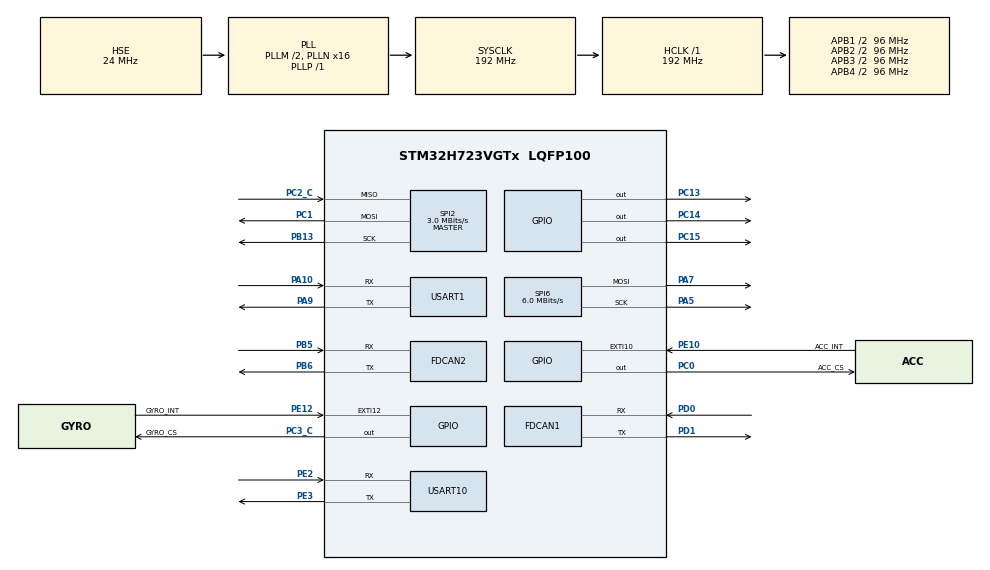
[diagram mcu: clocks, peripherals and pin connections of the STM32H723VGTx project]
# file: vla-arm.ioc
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Dma.Request0=SPI2_RX
Dma.Request1=SPI2_TX
Dma.SPI2_RX.0.Direction=DMA_PERIPH_TO_MEMORY
Dma.SPI2_RX.0.EventEnable=DISABLE
Dma.SPI2_RX.0.FIFOMode=DMA_FIFOMODE_DISABLE
Dma.SPI2_RX.0.Instance=DMA1_Stream0
Dma.SPI2_RX.0.MemDataAlignment=DMA_MDATAALIGN_BYTE
Dma.SPI2_RX.0.MemInc=DMA_MINC_ENABLE
Dma.SPI2_RX.0.Mode=DMA_NORMAL
Dma.SPI2_RX.0.PeriphDataAlignment=DMA_PDATAALIGN_BYTE
Dma.SPI2_RX.0.PeriphInc=DMA_PINC_DISABLE
Dma.SPI2_RX.0.Polarity=HAL_DMAMUX_REQ_GEN_RISING
Dma.SPI2_RX.0.Priority=DMA_PRIORITY_VERY_HIGH
Dma.SPI2_RX.0.RequestNumber=1
Dma.SPI2_RX.0.SignalID=NONE
Dma.SPI2_RX.0.SyncEnable=DISABLE
Dma.SPI2_RX.0.SyncPolarity=HAL_DMAMUX_SYNC_NO_EVENT
Dma.SPI2_RX.0.SyncRequestNumber=1
Dma.SPI2_RX.0.SyncSignalID=NONE
Dma.SPI2_TX.1.Direction=DMA_MEMORY_TO_PERIPH
Dma.SPI2_TX.1.EventEnable=DISABLE
Dma.SPI2_TX.1.FIFOMode=DMA_FIFOMODE_DISABLE
Dma.SPI2_TX.1.Instance=DMA1_Stream1
Dma.SPI2_TX.1.MemDataAlignment=DMA_MDATAALIGN_BYTE
Dma.SPI2_TX.1.MemInc=DMA_MINC_ENABLE
Dma.SPI2_TX.1.Mode=DMA_NORMAL
Dma.SPI2_TX.1.PeriphDataAlignment=DMA_PDATAALIGN_BYTE
Dma.SPI2_TX.1.PeriphInc=DMA_PINC_DISABLE
Dma.SPI2_TX.1.Polarity=HAL_DMAMUX_REQ_GEN_RISING
Dma.SPI2_TX.1.Priority=DMA_PRIORITY_HIGH
Dma.SPI2_TX.1.RequestNumber=1
Dma.SPI2_TX.1.SignalID=NONE
Dma.SPI2_TX.1.SyncEnable=DISABLE
Dma.SPI2_TX.1.SyncPolarity=HAL_DMAMUX_SYNC_NO_EVENT
Dma.SPI2_TX.1.SyncRequestNumber=1
Dma.SPI2_TX.1.SyncSignalID=NONE
FDCAN1.AutoRetransmission=DISABLE
FDCAN1.CalculateBaudRateNominal=1000000
FDCAN1.CalculateTimeBitNominal=1000
FDCAN1.CalculateTimeQuantumNominal=62.5
FDCAN1.DataPrescaler=6
FDCAN1.DataSyncJumpWidth=2
FDCAN1.DataTimeSeg1=13
FDCAN1.DataTimeSeg2=2
FDCAN1.ExtFiltersNbr=4
FDCAN1.Mode=FDCAN_MODE_NORMAL
FDCAN1.NominalPrescaler=6
FDCAN1.NominalSyncJumpWidth=2
FDCAN1.NominalTimeSeg1=13
FDCAN1.NominalTimeSeg2=2
FDCAN1.ProtocolException=ENABLE
FDCAN1.RxBuffersNbr=2
FDCAN1.RxFifo0ElmtsNbr=8
FDCAN1.RxFifo1ElmtsNbr=8
FDCAN1.StdFiltersNbr=4
FDCAN1.TxBuffersNbr=8
FDCAN1.TxEventsNbr=8
FDCAN1.TxFifoQueueElmtsNbr=8
FDCAN2.AutoRetransmission=DISABLE
FDCAN2.CalculateBaudRateNominal=1000000
FDCAN2.CalculateTimeBitNominal=1000
FDCAN2.CalculateTimeQuantumNominal=62.5
FDCAN2.DataPrescaler=6
FDCAN2.DataSyncJumpWidth=2
FDCAN2.DataTimeSeg1=13
FDCAN2.DataTimeSeg2=2
FDCAN2.ExtFiltersNbr=4
FDCAN2.NominalPrescaler=6
FDCAN2.NominalSyncJumpWidth=2
FDCAN2.NominalTimeSeg1=13
FDCAN2.NominalTimeSeg2=2
FDCAN2.ProtocolException=ENABLE
FDCAN2.RxBuffersNbr=2
FDCAN2.RxFifo0ElmtsNbr=8
FDCAN2.RxFifo1ElmtsNbr=8
FDCAN2.StdFiltersNbr=4
FDCAN2.TxBuffersNbr=8
FDCAN2.TxEventsNbr=8
FDCAN2.TxFifoQueueElmtsNbr=8
Mcu.Family=STM32H7
Mcu.Name=STM32H723VGTx
Mcu.Package=LQFP100
NVIC.DMA1_Stream0_IRQn=true\:1\:0\:true\:false\:true\:false\:true\:true
NVIC.DMA1_Stream1_IRQn=true\:2\:0\:true\:false\:true\:false\:true\:true
NVIC.FDCAN1_IT0_IRQn=true\:0\:0\:false\:false\:true\:true\:true\:true
NVIC.FDCAN1_IT1_IRQn=true\:0\:0\:false\:false\:true\:true\:true\:true
NVIC.FDCAN2_IT0_IRQn=true\:0\:0\:false\:false\:true\:true\:true\:true
NVIC.FDCAN2_IT1_IRQn=true\:0\:0\:false\:false\:true\:true\:true\:true
NVIC.PriorityGroup=NVIC_PRIORITYGROUP_4
NVIC.SPI2_IRQn=true\:5\:0\:true\:false\:true\:false\:true\:true
NVIC.TIM2_IRQn=true\:0\:0\:false\:false\:true\:true\:true\:true
NVIC.USART10_IRQn=true\:0\:0\:false\:false\:true\:true\:true\:true
PA10.Mode=Asynchronous
PA10.Signal=USART1_RX
PA13(JTMS/SWDIO).Mode=Serial_Wire
PA13(JTMS/SWDIO).Signal=DEBUG_JTMS-SWDIO
PA14(JTCK/SWCLK).Mode=Serial_Wire
PA14(JTCK/SWCLK).Signal=DEBUG_JTCK-SWCLK
PA5.GPIO_Speed=GPIO_SPEED_FREQ_VERY_HIGH
PA5.Mode=TX_Only_Simplex_Unidirect_Master
PA5.Signal=SPI6_SCK
PA7.GPIO_Speed=GPIO_SPEED_FREQ_VERY_HIGH
PA7.Mode=TX_Only_Simplex_Unidirect_Master
PA7.Signal=SPI6_MOSI
PA9.Mode=Asynchronous
PA9.Signal=USART1_TX
PB13.GPIO_Speed=GPIO_SPEED_FREQ_VERY_HIGH
PB13.Mode=Full_Duplex_Master
PB13.Signal=SPI2_SCK
PB5.Mode=FDCAN_Activate
PB5.Signal=FDCAN2_RX
PB6.GPIO_FM6=__NULL
PB6.Mode=FDCAN_Activate
PB6.Signal=FDCAN2_TX
PC0.GPIO_Label=ACC_CS
PC0.GPIO_Speed=GPIO_SPEED_FREQ_VERY_HIGH
PC0.PinState=GPIO_PIN_SET
PC0.Signal=GPIO_Output
PC1.GPIO_Speed=GPIO_SPEED_FREQ_VERY_HIGH
PC1.Mode=Full_Duplex_Master
PC1.Signal=SPI2_MOSI
PC13.Signal=GPIO_Output
PC14-OSC32_IN.Signal=GPIO_Output
PC15-OSC32_OUT.Signal=GPIO_Output
PC2_C.GPIO_Speed=GPIO_SPEED_FREQ_VERY_HIGH
PC2_C.Mode=Full_Duplex_Master
PC2_C.Signal=SPI2_MISO
PC3_C.GPIO_Label=GYRO_CS
PC3_C.GPIO_Speed=GPIO_SPEED_FREQ_VERY_HIGH
PC3_C.PinState=GPIO_PIN_SET
PC3_C.Signal=GPIO_Output
PD0.Mode=FDCAN_Activate
PD0.Signal=FDCAN1_RX
PD1.Mode=FDCAN_Activate
PD1.Signal=FDCAN1_TX
PE10.GPIO_Label=ACC_INT
PE10.Signal=GPXTI10
PE12.GPIO_Label=GYRO_INT
PE12.Signal=GPXTI12
PE2.Mode=Asynchronous
PE2.Signal=USART10_RX
PE3.Mode=Asynchronous
PE3.Signal=USART10_TX
PH0-OSC_IN.Mode=HSE-External-Oscillator
PH0-OSC_IN.Signal=RCC_OSC_IN
PH1-OSC_OUT.Mode=HSE-External-Oscillator
PH1-OSC_OUT.Signal=RCC_OSC_OUT
ProjectManager.HeapSize=0x200
ProjectManager.StackSize=0x800
ProjectManager.TargetToolchain=STM32CubeIDE
RCC.ADCFreq_Value=48375000
RCC.APB1Freq_Value=96000000
RCC.APB2Freq_Value=96000000
RCC.APB3Freq_Value=96000000
RCC.APB4Freq_Value=96000000
RCC.CortexFreq_Value=192000000
RCC.D1PPRE=RCC_APB3_DIV2
RCC.D2PPRE1=RCC_APB1_DIV2
RCC.D2PPRE2=RCC_APB2_DIV2
RCC.D3PPRE=RCC_APB4_DIV2
RCC.DIVM1=2
RCC.DIVN1=16
RCC.DIVP1=1
RCC.HCLKFreq_Value=192000000
RCC.HSE_VALUE=24000000
RCC.PLL2FRACN=0
RCC.PLL3FRACN=0
RCC.PLLFRACN=0
RCC.PLLSourceVirtual=RCC_PLLSOURCE_HSE
RCC.SPI6CLockSelection=RCC_SPI6CLKSOURCE_HSE
RCC.SYSCLKFreq_VALUE=192000000
RCC.SYSCLKSource=RCC_SYSCLKSOURCE_PLLCLK
RCC.USBFreq_Value=96000000
SPI2.BaudRatePrescaler=SPI_BAUDRATEPRESCALER_32
SPI2.CLKPhase=SPI_PHASE_2EDGE
SPI2.CLKPolarity=SPI_POLARITY_HIGH
SPI2.CalculateBaudRate=3.0 MBits/s
SPI2.DataSize=SPI_DATASIZE_8BIT
SPI2.Direction=SPI_DIRECTION_2LINES
SPI2.Mode=SPI_MODE_MASTER
SPI2.VirtualType=VM_MASTER
SPI6.BaudRatePrescaler=SPI_BAUDRATEPRESCALER_4
SPI6.CLKPhase=SPI_PHASE_2EDGE
SPI6.CalculateBaudRate=6.0 MBits/s
SPI6.DataSize=SPI_DATASIZE_8BIT
SPI6.Direction=SPI_DIRECTION_2LINES_TXONLY
SPI6.Mode=SPI_MODE_MASTER
SPI6.VirtualType=VM_MASTER
TIM2.Period=999
TIM2.Prescaler=239
USART1.VirtualMode-Asynchronous=VM_ASYNC
USART10.VirtualMode=VM_ASYNC
VP_MEMORYMAP_VS_MEMORYMAP.Mode=CurAppReg
VP_TIM2_VS_ClockSourceINT.Mode=Internal
board=custom

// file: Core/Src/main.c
/* USER CODE BEGIN Header */
/* USER CODE END Header */
#include "main.h"
#include "dma.h"
#include "fdcan.h"
#include "spi.h"
#include "tim.h"
#include "usart.h"
#include "gpio.h"

/* USER CODE BEGIN PD */
#include "ws2812.h"
#include "bsp_fdcan.h"
#include <stdio.h>
#include <string.h>
#include <stdarg.h>
#include <math.h>
/* USER CODE END PD */

/* USER CODE BEGIN PM */
typedef struct {
    uint8_t node_id;
    float pos_deg;
    float vel_rpm;
    uint32_t rx_count;
    uint32_t last_rx_ms;
} JC_MotorState;

#define NODE_LEADER    1 // mot1 on can 1
#define NODE_FOLLOWER  2 // mot2 on can 2

static JC_MotorState leader   = {NODE_LEADER,   0};
static JC_MotorState follower = {NODE_FOLLOWER, 0};
/* USER CODE END PM */

/* USER CODE BEGIN PV */
// 1kHz control flag from TIM2
volatile uint8_t loop_1khz_flag = 0;

// timing/debug
static uint32_t loop_count = 0;
static uint32_t can_tx_drop = 0;
static uint32_t can_rx_other = 0;

// virtual coupling gains
#define CTRL_DIV 1 // 1=1khz,2=500hz, 4=250hz, 10=100hz, 100=10hz,

static float K_COUPLE = 0.18f;
static float D_COUPLE = 0.015f;
static float TAU_MAX  = 0.25f;

static const float DEG2RAD = 0.01745329252f;
static const float RPM2RAD = 0.10471975512f;
/* USER CODE END PV */

void SystemClock_Config(void);

/* USER CODE BEGIN 0 */
// ===== WS2812 LED status helpers =====
static inline void led_yellow(void){ WS2812_Ctrl(60, 60, 0); }
static inline void led_red(void)   { WS2812_Ctrl(80, 0, 0);  }
static inline void led_green(void) { WS2812_Ctrl(0, 80, 0);  }

// ===== UART1 logging =====
static char logbuf[192];

static void log_uart1(const char *s)
{
    HAL_UART_Transmit(&huart1, (uint8_t*)s, (uint16_t)strlen(s), 100);
}

static void logf_uart1(const char *fmt, ...)
{
    va_list ap;
    va_start(ap, fmt);
    int n = vsnprintf(logbuf, sizeof(logbuf), fmt, ap);
    va_end(ap);
    if (n < 0) return;
    size_t len = strnlen(logbuf, sizeof(logbuf));
    HAL_UART_Transmit(&huart1, (uint8_t*)logbuf, (uint16_t)len, 100);
}

// ===== Power 1 enable: PC14 =====
#define MOTOR_EN_PORT GPIOC
#define MOTOR_EN_PIN_1  GPIO_PIN_14
#define MOTOR_EN_PIN_2  GPIO_PIN_13

static inline void arm_enable(uint8_t en)
{
    HAL_GPIO_WritePin(MOTOR_EN_PORT, MOTOR_EN_PIN_1, en ? GPIO_PIN_SET : GPIO_PIN_RESET);
    HAL_GPIO_WritePin(MOTOR_EN_PORT, MOTOR_EN_PIN_2, en ? GPIO_PIN_SET : GPIO_PIN_RESET);
}

// ===== JC protocol helpers =====
static inline uint16_t jc_tx_id(uint8_t node_id){ return (uint16_t)(0x600 + node_id); }

static inline float clampf(float x, float lo, float hi)
{
    if (x > hi) return hi;
    if (x < lo) return lo;
    return x;
}

static inline int16_t be_s16(const uint8_t *p)
{
    return (int16_t)((uint16_t)p[0] << 8 | p[1]);
}

static inline int32_t be_s24(const uint8_t *p)
{
    int32_t v = ((int32_t)p[0] << 16) | ((int32_t)p[1] << 8) | p[2];
    if (v & 0x00800000) v |= 0xFF000000;
    return v;
}

static int jc_send8(FDCAN_HandleTypeDef *hcan, uint16_t std_id, const uint8_t d[8])
{
    int r = fdcanx_send_data(hcan, std_id, (uint8_t*)d, 8);
    if (r != 0) can_tx_drop++;
    return r;
}

static int jc_set_mode(FDCAN_HandleTypeDef *hcan, uint8_t node_id, uint16_t mode)
{
    uint8_t d[8] = {0x2B, 0x00, 0x60, 0x00, 0, 0, 0, 0};
    d[4] = (uint8_t)(mode >> 8);
    d[5] = (uint8_t)(mode & 0xFF);
    return jc_send8(hcan, jc_tx_id(node_id), d);
}

static int jc_enter_closed_loop(FDCAN_HandleTypeDef *hcan, uint8_t node_id)
{
    uint8_t d[8] = {0x2B, 0x00, 0xA2, 0x00, 0x00, 0x01, 0x00, 0x00};
    return jc_send8(hcan, jc_tx_id(node_id), d);
}

static int jc_idle(FDCAN_HandleTypeDef *hcan, uint8_t node_id)
{
    uint8_t d[8] = {0x2B, 0x00, 0xA0, 0x00, 0x00, 0x01, 0x00, 0x00};
    return jc_send8(hcan, jc_tx_id(node_id), d);
}

static int jc_set_torque_nm(FDCAN_HandleTypeDef *hcan, uint8_t node_id, float torque_nm)
{
    torque_nm = clampf(torque_nm, -TAU_MAX, TAU_MAX);
    int16_t v = (int16_t)(torque_nm * 100.0f); // JC: Nm * 100

    uint8_t d[8] = {0x2B, 0x00, 0x20, 0x00, 0, 0, 0, 0};
    d[4] = (uint8_t)((v >> 8) & 0xFF);
    d[5] = (uint8_t)(v & 0xFF);
    return jc_send8(hcan, jc_tx_id(node_id), d);
}

void can_parse_feedback(FDCAN_HandleTypeDef *hcan, uint16_t rx_id, uint8_t *d, uint8_t len)
{
    if (len != 8) return;

    uint8_t node = 0;
    JC_MotorState *m = NULL;

    if (hcan == &hfdcan1 && rx_id == 0x580 + NODE_LEADER) {
        node = NODE_LEADER;
        m = &leader;
    } else if (hcan == &hfdcan2 && rx_id == 0x580 + NODE_FOLLOWER) {
        node = NODE_FOLLOWER;
        m = &follower;
    } else {
        can_rx_other++;
        return;
    }

    (void)node;

    // Torque/position/speed command reply:
    // 2A [pos 24-bit, deg*100] [speed 16-bit, rpm*100] [current/torque 16-bit, *100]
    if (d[0] == 0x2A) {
        int32_t pos_raw = be_s24(&d[1]);
        int16_t vel_raw = be_s16(&d[4]);

        m->pos_deg = (float)pos_raw / 100.0f;
        m->vel_rpm = (float)vel_raw / 100.0f;
        m->rx_count++;
        m->last_rx_ms = HAL_GetTick();
    }
}

static void fatal(const char *msg)
{
    led_red();
    logf_uart1("[FATAL] %s\r\n", msg);
    arm_enable(0);
    __disable_irq();
    while (1) { HAL_Delay(1000); }
}
/* USER CODE END 0 */

int main(void)
{

  /* MCU Configuration--------------------------------------------------------*/

  /* Reset of all peripherals, Initializes the Flash interface and the Systick. */
  HAL_Init();

  /* Configure the system clock */
  SystemClock_Config();

  /* Initialize all configured peripherals */
  MX_GPIO_Init();
  MX_DMA_Init();
  MX_SPI2_Init();
  MX_USART1_UART_Init();
  MX_TIM2_Init();
  MX_FDCAN1_Init();
  MX_FDCAN2_Init();
  MX_USART10_UART_Init();
  MX_SPI6_Init();
  /* USER CODE BEGIN 2 */
  led_yellow();
  log_uart1("\r\n[BOOT] H725/H723 JC gripper 1kHz force-feedback demo\r\n");

  arm_enable(0);
  HAL_Delay(50);

  log_uart1("[INIT] CAN...\r\n");
  bsp_can_init();
  HAL_Delay(50);

  // If bsp_can_init() does not already enable RX interrupt, this makes it explicit.
  HAL_FDCAN_ActivateNotification(&hfdcan1, FDCAN_IT_RX_FIFO0_NEW_MESSAGE, 0);
  HAL_FDCAN_ActivateNotification(&hfdcan2, FDCAN_IT_RX_FIFO0_NEW_MESSAGE, 0);

  HAL_TIM_Base_Start_IT(&htim2);

  log_uart1("[INIT] motor power enable\r\n");
  arm_enable(1);
  HAL_Delay(500);

  log_uart1("[INIT] idle motors\r\n");
  jc_idle(&hfdcan1, NODE_LEADER);
  HAL_Delay(100);
  jc_idle(&hfdcan2, NODE_FOLLOWER);
  HAL_Delay(100);

  log_uart1("[INIT] closed loop\r\n");
  if (jc_enter_closed_loop(&hfdcan1, NODE_LEADER) != 0) fatal("closed leader");
  HAL_Delay(100);
  if (jc_enter_closed_loop(&hfdcan2, NODE_FOLLOWER) != 0) fatal("closed follower");
  HAL_Delay(100);

  log_uart1("[INIT] both torque mode\r\n");

  jc_set_mode(&hfdcan1, NODE_LEADER, 0);
  HAL_Delay(100);

  jc_set_mode(&hfdcan2, NODE_FOLLOWER, 0);
  HAL_Delay(100);

  jc_set_torque_nm(&hfdcan1, NODE_LEADER, 0.0f);
  HAL_Delay(20);

  jc_set_torque_nm(&hfdcan2, NODE_FOLLOWER, 0.0f);
  HAL_Delay(20);

  led_green();
  logf_uart1("[OK] 1kHz demo running. leader=%d follower=%d\r\n", NODE_LEADER, NODE_FOLLOWER);
  led_green();
  /* USER CODE END 2 */

  /* Infinite loop */
  /* USER CODE BEGIN WHILE */
  uint32_t last_log_ms = HAL_GetTick();
  uint32_t last_rx2 = 0, last_rx3 = 0;
  float last_err_deg = 0.0f;

  while (1)
  {
    if (!loop_1khz_flag) continue;
    loop_1khz_flag = 0;
    loop_count++;
    if ((loop_count % CTRL_DIV) != 0)
    {
        continue;
    }

    float err_deg = leader.pos_deg - follower.pos_deg;
    if(err_deg < 1.0f && err_deg > -1.0f)
    {
        err_deg = last_err_deg;
    }
        else
        {
        last_err_deg = err_deg;
    }

    float qL  = leader.pos_deg * DEG2RAD;
    float qF  = follower.pos_deg * DEG2RAD;
    float dqL = leader.vel_rpm * RPM2RAD;
    float dqF = follower.vel_rpm * RPM2RAD;

    float err  = err_deg * DEG2RAD;
    float derr = dqL - dqF;

    float tau = -K_COUPLE * err - D_COUPLE * derr;
    tau = clampf(tau, -TAU_MAX, TAU_MAX);

    int r1 = jc_set_torque_nm(&hfdcan1, NODE_LEADER, 0.9f * tau);
    int r2 = jc_set_torque_nm(&hfdcan2, NODE_FOLLOWER, -tau);

    // 10Hz debug only. Do not print at 1kHz.
    uint32_t now = HAL_GetTick();
    if ((now - last_log_ms) >= 100)
    {
        uint32_t drx2 = leader.rx_count - last_rx2;
        uint32_t drx3 = follower.rx_count - last_rx3;
        last_rx2 = leader.rx_count;
        last_rx3 = follower.rx_count;
        last_log_ms = now;

        logf_uart1(
            "qL %.2f qF %.2f e %.2f tau %.3f | rx %lu %lu r %d %d\r\n",
            leader.pos_deg,
            follower.pos_deg,
            err,
            tau,
            (unsigned long)drx2,
            (unsigned long)drx3,
            r1,
            r2
        );
    }

    /* USER CODE END WHILE */

  }
}

void SystemClock_Config(void)
{
  RCC_OscInitTypeDef RCC_OscInitStruct = {0};
  RCC_ClkInitTypeDef RCC_ClkInitStruct = {0};

  /** Supply configuration update enable
  */
  HAL_PWREx_ConfigSupply(PWR_LDO_SUPPLY);

  /** Configure the main internal regulator output voltage
  */
  __HAL_PWR_VOLTAGESCALING_CONFIG(PWR_REGULATOR_VOLTAGE_SCALE1);

  while(!__HAL_PWR_GET_FLAG(PWR_FLAG_VOSRDY)) {}

  /** Initializes the RCC Oscillators according to the specified parameters
  * in the RCC_OscInitTypeDef structure.
  */
  RCC_OscInitStruct.OscillatorType = RCC_OSCILLATORTYPE_HSE;
  RCC_OscInitStruct.HSEState = RCC_HSE_ON;
  RCC_OscInitStruct.PLL.PLLState = RCC_PLL_ON;
  RCC_OscInitStruct.PLL.PLLSource = RCC_PLLSOURCE_HSE;
  RCC_OscInitStruct.PLL.PLLM = 2;
  RCC_OscInitStruct.PLL.PLLN = 16;
  RCC_OscInitStruct.PLL.PLLP = 1;
  RCC_OscInitStruct.PLL.PLLQ = 2;
  RCC_OscInitStruct.PLL.PLLR = 2;
  RCC_OscInitStruct.PLL.PLLRGE = RCC_PLL1VCIRANGE_3;
  RCC_OscInitStruct.PLL.PLLVCOSEL = RCC_PLL1VCOWIDE;
  RCC_OscInitStruct.PLL.PLLFRACN = 0;
  if (HAL_RCC_OscConfig(&RCC_OscInitStruct) != HAL_OK)
  {
    Error_Handler();
  }

  /** Initializes the CPU, AHB and APB buses clocks
  */
  RCC_ClkInitStruct.ClockType = RCC_CLOCKTYPE_HCLK|RCC_CLOCKTYPE_SYSCLK
                              |RCC_CLOCKTYPE_PCLK1|RCC_CLOCKTYPE_PCLK2
                              |RCC_CLOCKTYPE_D3PCLK1|RCC_CLOCKTYPE_D1PCLK1;
  RCC_ClkInitStruct.SYSCLKSource = RCC_SYSCLKSOURCE_PLLCLK;
  RCC_ClkInitStruct.SYSCLKDivider = RCC_SYSCLK_DIV1;
  RCC_ClkInitStruct.AHBCLKDivider = RCC_HCLK_DIV1;
  RCC_ClkInitStruct.APB3CLKDivider = RCC_APB3_DIV2;
  RCC_ClkInitStruct.APB1CLKDivider = RCC_APB1_DIV2;
  RCC_ClkInitStruct.APB2CLKDivider = RCC_APB2_DIV2;
  RCC_ClkInitStruct.APB4CLKDivider = RCC_APB4_DIV2;

  if (HAL_RCC_ClockConfig(&RCC_ClkInitStruct, FLASH_LATENCY_2) != HAL_OK)
  {
    Error_Handler();
  }
}

/* USER CODE BEGIN 4 */
void HAL_TIM_PeriodElapsedCallback(TIM_HandleTypeDef *htim)
{
    if (htim->Instance == TIM2)
    {
        loop_1khz_flag = 1;
    }
}

/* USER CODE END 4 */

void Error_Handler(void)
{
}
